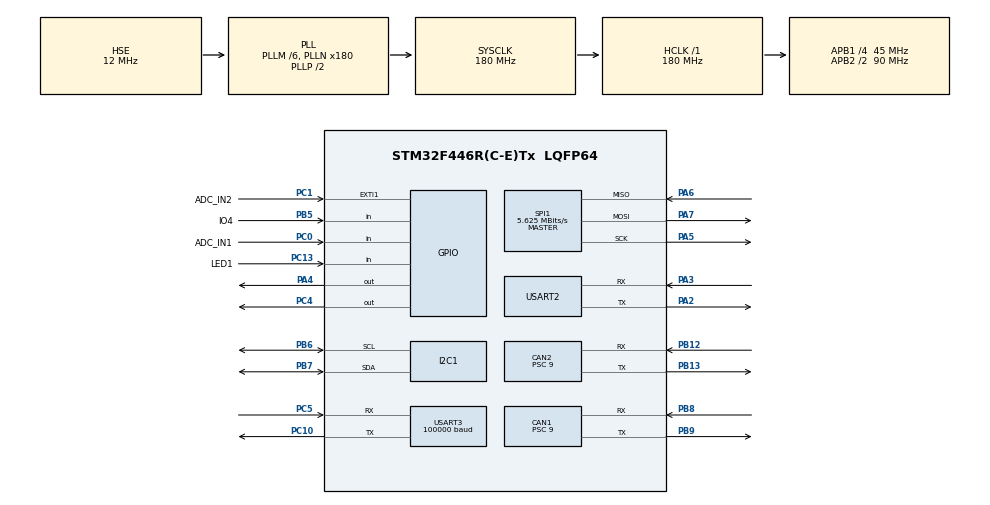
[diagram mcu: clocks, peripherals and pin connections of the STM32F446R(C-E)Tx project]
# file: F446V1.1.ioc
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CAN1.BS1=CAN_BS1_2TQ
CAN1.BS2=CAN_BS2_2TQ
CAN1.CalculateBaudRate=1000000
CAN1.CalculateTimeBit=1000
CAN1.CalculateTimeQuantum=200.0
CAN1.Prescaler=9
CAN2.BS1=CAN_BS1_2TQ
CAN2.BS2=CAN_BS2_2TQ
CAN2.CalculateBaudRate=1000000
CAN2.CalculateTimeBit=1000
CAN2.CalculateTimeQuantum=200.0
CAN2.Prescaler=9
Dma.Request0=USART3_RX
Dma.Request1=USART2_RX
Dma.USART2_RX.1.Direction=DMA_PERIPH_TO_MEMORY
Dma.USART2_RX.1.FIFOMode=DMA_FIFOMODE_DISABLE
Dma.USART2_RX.1.Instance=DMA1_Stream5
Dma.USART2_RX.1.MemDataAlignment=DMA_MDATAALIGN_BYTE
Dma.USART2_RX.1.MemInc=DMA_MINC_ENABLE
Dma.USART2_RX.1.Mode=DMA_NORMAL
Dma.USART2_RX.1.PeriphDataAlignment=DMA_PDATAALIGN_BYTE
Dma.USART2_RX.1.PeriphInc=DMA_PINC_DISABLE
Dma.USART2_RX.1.Priority=DMA_PRIORITY_VERY_HIGH
Dma.USART3_RX.0.Direction=DMA_PERIPH_TO_MEMORY
Dma.USART3_RX.0.FIFOMode=DMA_FIFOMODE_DISABLE
Dma.USART3_RX.0.Instance=DMA1_Stream1
Dma.USART3_RX.0.MemDataAlignment=DMA_MDATAALIGN_BYTE
Dma.USART3_RX.0.MemInc=DMA_MINC_ENABLE
Dma.USART3_RX.0.Mode=DMA_NORMAL
Dma.USART3_RX.0.PeriphDataAlignment=DMA_PDATAALIGN_BYTE
Dma.USART3_RX.0.PeriphInc=DMA_PINC_DISABLE
Dma.USART3_RX.0.Priority=DMA_PRIORITY_VERY_HIGH
Mcu.Family=STM32F4
Mcu.Name=STM32F446R(C-E)Tx
Mcu.Package=LQFP64
NVIC.CAN1_RX0_IRQn=true\:0\:0\:false\:false\:true\:true\:true\:true
NVIC.CAN2_RX1_IRQn=true\:0\:0\:false\:false\:true\:true\:true\:true
NVIC.DMA1_Stream1_IRQn=true\:0\:0\:false\:false\:true\:false\:true\:true
NVIC.DMA1_Stream5_IRQn=true\:0\:0\:false\:false\:true\:false\:true\:true
NVIC.PriorityGroup=NVIC_PRIORITYGROUP_4
NVIC.TIM2_IRQn=true\:1\:0\:true\:false\:true\:true\:true\:true
NVIC.USART2_IRQn=true\:2\:0\:true\:false\:true\:true\:true\:true
PA13.Mode=Serial_Wire
PA13.Signal=SYS_JTMS-SWDIO
PA14.Mode=Serial_Wire
PA14.Signal=SYS_JTCK-SWCLK
PA2.Mode=Asynchronous
PA2.Signal=USART2_TX
PA3.Mode=Asynchronous
PA3.Signal=USART2_RX
PA4.Signal=GPIO_Output
PA5.Mode=Full_Duplex_Master
PA5.Signal=SPI1_SCK
PA6.Mode=Full_Duplex_Master
PA6.Signal=SPI1_MISO
PA7.Mode=Full_Duplex_Master
PA7.Signal=SPI1_MOSI
PB12.Mode=CAN_Activate
PB12.Signal=CAN2_RX
PB13.Mode=CAN_Activate
PB13.Signal=CAN2_TX
PB5.GPIO_Label=IO4
PB5.GPIO_PuPd=GPIO_PULLUP
PB5.Signal=GPIO_Input
PB6.Mode=I2C
PB6.Signal=I2C1_SCL
PB7.Mode=I2C
PB7.Signal=I2C1_SDA
PB8.Mode=CAN_Activate
PB8.Signal=CAN1_RX
PB9.Mode=CAN_Activate
PB9.Signal=CAN1_TX
PC0.GPIO_Label=ADC_IN1
PC0.GPIO_PuPd=GPIO_PULLUP
PC0.Signal=GPIO_Input
PC1.GPIO_Label=ADC_IN2
PC1.GPIO_PuPd=GPIO_PULLUP
PC1.Signal=GPXTI1
PC10.Mode=Asynchronous
PC10.Signal=USART3_TX
PC13.GPIO_Label=LED1
PC13.GPIO_PuPd=GPIO_PULLUP
PC13.Signal=GPIO_Input
PC4.Signal=GPIO_Output
PC5.Mode=Asynchronous
PC5.Signal=USART3_RX
PH0-OSC_IN.Mode=HSE-External-Oscillator
PH0-OSC_IN.Signal=RCC_OSC_IN
PH1-OSC_OUT.Mode=HSE-External-Oscillator
PH1-OSC_OUT.Signal=RCC_OSC_OUT
ProjectManager.HeapSize=0x200
ProjectManager.StackSize=0x400
ProjectManager.TargetToolchain=MDK-ARM V5.27
RCC.AHBFreq_Value=180000000
RCC.APB1CLKDivider=RCC_HCLK_DIV4
RCC.APB1Freq_Value=45000000
RCC.APB1TimFreq_Value=90000000
RCC.APB2CLKDivider=RCC_HCLK_DIV2
RCC.APB2Freq_Value=90000000
RCC.APB2TimFreq_Value=180000000
RCC.CortexFreq_Value=180000000
RCC.HCLKFreq_Value=180000000
RCC.HSE_VALUE=12000000
RCC.PLLM=6
RCC.PLLN=180
RCC.PLLSourceVirtual=RCC_PLLSOURCE_HSE
RCC.SYSCLKFreq_VALUE=180000000
RCC.SYSCLKSource=RCC_SYSCLKSOURCE_PLLCLK
RCC.USBFreq_Value=180000000
RCC.VCOOutputFreq_Value=360000000
SPI1.BaudRatePrescaler=SPI_BAUDRATEPRESCALER_16
SPI1.CLKPhase=SPI_PHASE_2EDGE
SPI1.CLKPolarity=SPI_POLARITY_HIGH
SPI1.CalculateBaudRate=5.625 MBits/s
SPI1.Direction=SPI_DIRECTION_2LINES
SPI1.Mode=SPI_MODE_MASTER
SPI1.VirtualType=VM_MASTER
TIM2.AutoReloadPreload=TIM_AUTORELOAD_PRELOAD_ENABLE
TIM2.Period=1000-1
TIM2.Prescaler=900-1
TIM3.Period=112
USART2.VirtualMode=VM_ASYNC
USART3.BaudRate=100000
USART3.Parity=PARITY_EVEN
USART3.VirtualMode=VM_ASYNC
USART3.WordLength=WORDLENGTH_9B
VP_TIM2_VS_ClockSourceINT.Mode=Internal
VP_TIM3_VS_ClockSourceINT.Mode=Internal
board=custom

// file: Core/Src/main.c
/* USER CODE BEGIN Header */
/**
  ******************************************************************************
  * @file           : main.c
  * @brief          : Main program body
  ******************************************************************************
  * @attention
  *
  * Copyright (c) 2024 STMicroelectronics.
  * All rights reserved.
  *
  * This software is licensed under terms that can be found in the LICENSE file
  * in the root directory of this software component.
  * If no LICENSE file comes with this software, it is provided AS-IS.
  *
  ******************************************************************************
  */
/* USER CODE END Header */
#include "main.h"
#include "can.h"
#include "dma.h"
#include "i2c.h"
#include "spi.h"
#include "tim.h"
#include "usart.h"
#include "gpio.h"

/* USER CODE BEGIN Includes */
//#include "C620_CAN.h"
#include "can_user.h"
#include "pid.h"
#include "dipan_control.h"
#include "yaokong.h"
#include "dipan_gensui.h"
#include "bodan.h"
#include "nuc_control.h"

//#include "bmi088.h"
//#include <math.h>
//#include "bmi088reg.h"
//#include "Mahony.h""
//#include "qmc5883l.h"
//#include "MahonyAHRS.h"
#include "nuc_control.h"
#include "auto_control.h"
/* USER CODE END Includes */

/* USER CODE BEGIN PV */
	uint8_t *Sa="djw";
	/**
*dianji_yaokong
*/
motor_recieve motor_recieve_dipan3508[4];
motor_recieve motor_recieve_yuntai6020[2];
motor_recieve motor_recieve_yuntai3508[3];
motor_recieve motor_recieve_shengmingqiu2006[1];

RC_Ctl_t RC_Ctl;   					//声明遥控器数据结构体
uint8_t sbus_rx_buffer[18]; 		//声明遥控器接收缓存数组
int8_t yaokongjishi=10;            //声明遥控器一直未接收到数据时的计数

extern int16_t dipan_speedtarget[4];
extern int16_t yuntai_angletarget[2];
uint16_t a =50;
uint16_t* bodan_target_angle = &a;

int16_t TongDao0 = 0;               //声明一个变量，用于一个通道调试

int16_t m6020_target[2];
int16_t m2006_target_speed=0;
uint8_t flag;

uint8_t life_ball_num=3;
//float p,r,y;
/**
*Nuc_tongxin
*/

/**
*zitaijiesuan
*/
//	acc_raw_data_t acc_data;
//  gyro_raw_data_t gyro_raw_data;
//  zitai_angle zitai;
//  float x, y, z;
//
//	float headingangle_z;
/* USER CODE END PV */

void SystemClock_Config(void);

int main(void)
{

  /* MCU Configuration--------------------------------------------------------*/

  /* Reset of all peripherals, Initializes the Flash interface and the Systick. */
  HAL_Init();

  /* Configure the system clock */
  SystemClock_Config();

  /* Initialize all configured peripherals */
  MX_GPIO_Init();
  MX_DMA_Init();
  MX_CAN1_Init();
  MX_USART2_UART_Init();
  MX_CAN2_Init();
  MX_USART3_UART_Init();
  MX_TIM2_Init();
  MX_I2C1_Init();
  MX_SPI1_Init();
  MX_TIM3_Init();
  /* USER CODE BEGIN 2 */
	HAL_TIM_Base_Start_IT(&htim2);
	HAL_CAN_Start(&hcan1);
	HAL_CAN_Start(&hcan2);
	can_filter_init();
	can_filter2_init();

		HAL_UARTEx_ReceiveToIdle_DMA(&huart3,sbus_rx_buffer,18);
	__HAL_DMA_DISABLE_IT(huart3.hdmarx ,DMA_IT_HT );  //防止接收到一半就停止，跟上一句一定要配套写

Nuc_Tele_Init();
LLC_Init();
//HAL_GPIO_WritePin(GPIOC,GPIO_PIN_13,GPIO_PIN_RESET);
HAL_Delay(500);

m6020_target[0]=0;m6020_target[1]=7000;
  /* USER CODE END 2 */

  /* Infinite loop */
  while (1)
  {

    /* USER CODE BEGIN 3 */
//		dipan_speed_jiesuan(RC_Ctl);
//	 dipan_gensui();
	 Nuc_ctrl();
	CAN_cmd_speed_3508motor(dipan_speedtarget,motor_recieve_dipan3508);
	CAN_cmd_speed_shengmingqiumotor2006_rpm(m2006_target_speed,motor_recieve_shengmingqiu2006);
	CAN_cmd_angle_6020motor(m6020_target,motor_recieve_yuntai6020);
	 HAL_Delay(2);

// flag = HAL_GPIO_ReadPin(ADC_IN2_GPIO_Port,ADC_IN2_Pin)+HAL_GPIO_ReadPin(ADC_IN1_GPIO_Port,ADC_IN1_Pin)+ HAL_GPIO_ReadPin(IO4_GPIO_Port,IO4_Pin);

  }
  /* USER CODE END 3 */
}

void SystemClock_Config(void)
{
  RCC_OscInitTypeDef RCC_OscInitStruct = {0};
  RCC_ClkInitTypeDef RCC_ClkInitStruct = {0};

  /** Configure the main internal regulator output voltage
  */
  __HAL_RCC_PWR_CLK_ENABLE();
  __HAL_PWR_VOLTAGESCALING_CONFIG(PWR_REGULATOR_VOLTAGE_SCALE1);

  /** Initializes the RCC Oscillators according to the specified parameters
  * in the RCC_OscInitTypeDef structure.
  */
  RCC_OscInitStruct.OscillatorType = RCC_OSCILLATORTYPE_HSE;
  RCC_OscInitStruct.HSEState = RCC_HSE_ON;
  RCC_OscInitStruct.PLL.PLLState = RCC_PLL_ON;
  RCC_OscInitStruct.PLL.PLLSource = RCC_PLLSOURCE_HSE;
  RCC_OscInitStruct.PLL.PLLM = 6;
  RCC_OscInitStruct.PLL.PLLN = 180;
  RCC_OscInitStruct.PLL.PLLP = RCC_PLLP_DIV2;
  RCC_OscInitStruct.PLL.PLLQ = 2;
  RCC_OscInitStruct.PLL.PLLR = 2;
  if (HAL_RCC_OscConfig(&RCC_OscInitStruct) != HAL_OK)
  {
    Error_Handler();
  }

  /** Activate the Over-Drive mode
  */
  if (HAL_PWREx_EnableOverDrive() != HAL_OK)
  {
    Error_Handler();
  }

  /** Initializes the CPU, AHB and APB buses clocks
  */
  RCC_ClkInitStruct.ClockType = RCC_CLOCKTYPE_HCLK|RCC_CLOCKTYPE_SYSCLK
                              |RCC_CLOCKTYPE_PCLK1|RCC_CLOCKTYPE_PCLK2;
  RCC_ClkInitStruct.SYSCLKSource = RCC_SYSCLKSOURCE_PLLCLK;
  RCC_ClkInitStruct.AHBCLKDivider = RCC_SYSCLK_DIV1;
  RCC_ClkInitStruct.APB1CLKDivider = RCC_HCLK_DIV4;
  RCC_ClkInitStruct.APB2CLKDivider = RCC_HCLK_DIV2;

  if (HAL_RCC_ClockConfig(&RCC_ClkInitStruct, FLASH_LATENCY_5) != HAL_OK)
  {
    Error_Handler();
  }
}

void Error_Handler(void)
{
  __disable_irq();
  while (1)
  {
  }
}
